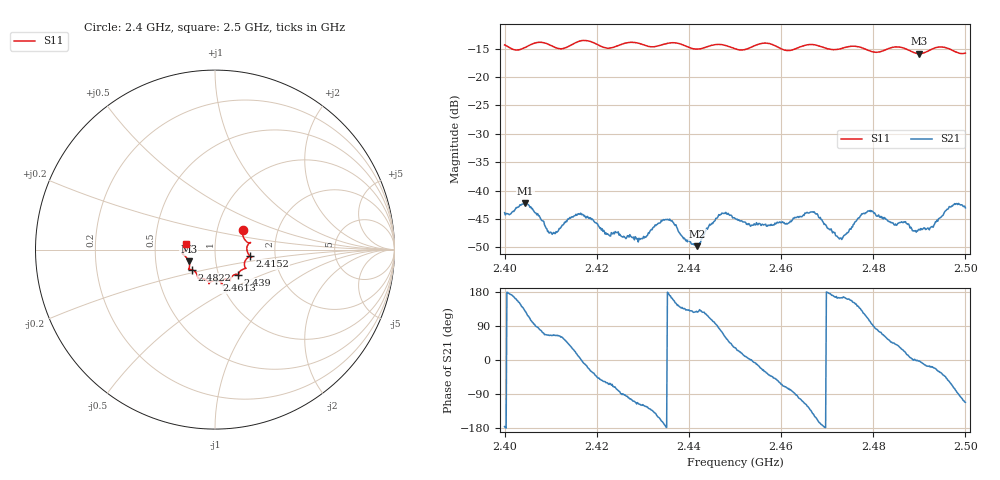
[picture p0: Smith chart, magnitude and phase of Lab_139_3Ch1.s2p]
# Hz S RI R 50
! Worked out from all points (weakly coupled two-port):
!   601 points, 2.4 GHz to 2.5 GHz, reference 50 ohm
!   highest |S21| = -42.18 dB at 2.4045 GHz (marker M1); lowest = -49.8 dB at 2.4418 GHz (marker M2)
!   lowest |S11| = -15.9 dB at 2.49 GHz (marker M3), VSWR 1.38, Z = 36.9 - j4.87 ohm
!   |S11| at or under -10 dB: start of sweep to end of sweep
!   S12 and S22 are empty: the file has one direction only
!   S11 on the Smith chart (normalised r, x): 2.4 GHz: 1.33, +0.31; 2.4152 GHz: 1.48, -0.11; 2.439 GHz: 1.24, -0.36; 2.4613 GHz: 0.96, -0.34; 2.4822 GHz: 0.76, -0.17; 2.5 GHz: 0.72, +0.05
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2.4e9  0.1559 0.1114  -0.00637 -0.000473  0 0  0 0
2.4045e9  0.1769 0.0432  -0.00477 0.00614  0 0  0 0
2.410167e9  0.1859 0.0306  0.00184 0.00382  0 0  0 0
2.415167e9  0.1949 -0.0357  0.00549 0.00241  0 0  0 0
2.416667e9  0.2046 -0.0416  0.00613 -4.57e-05  0 0  0 0
2.422333e9  0.1676 -0.0634  0.00207 -0.00361  0 0  0 0
2.429167e9  0.167 -0.1059  -0.0017 -0.0034  0 0  0 0
2.433333e9  0.1329 -0.1326  -0.0045 -0.00249  0 0  0 0
2.436e9  0.1345 -0.1475  -0.00534 0.00103  0 0  0 0
2.439e9  0.1282 -0.1394  -0.00274 0.00265  0 0  0 0
2.441833e9  0.1 -0.1448  -0.00191 0.00261  0 0  0 0
2.446833e9  0.0853 -0.1733  0.00125 0.00602  0 0  0 0
2.45e9  0.0685 -0.1635  0.00481 0.00305  0 0  0 0
2.461333e9  0.00778 -0.1707  0.00141 -0.00487  0 0  0 0
2.466667e9  -0.0332 -0.1901  -0.00476 -0.00441  0 0  0 0
2.472833e9  -0.0753 -0.1603  -0.00367 0.00105  0 0  0 0
2.478833e9  -0.0999 -0.1402  -0.00223 0.00623  0 0  0 0
2.482167e9  -0.128 -0.112  0.00221 0.00518  0 0  0 0
2.483333e9  -0.1393 -0.1105  0.00318 0.00434  0 0  0 0
2.49e9  -0.1467 -0.0643  0.00456 -0.000194  0 0  0 0
2.4975e9  -0.1689 -0.0064  0.00211 -0.00721  0 0  0 0
2.5e9  -0.1588 0.0336  -0.00261 -0.00654  0 0  0 0
